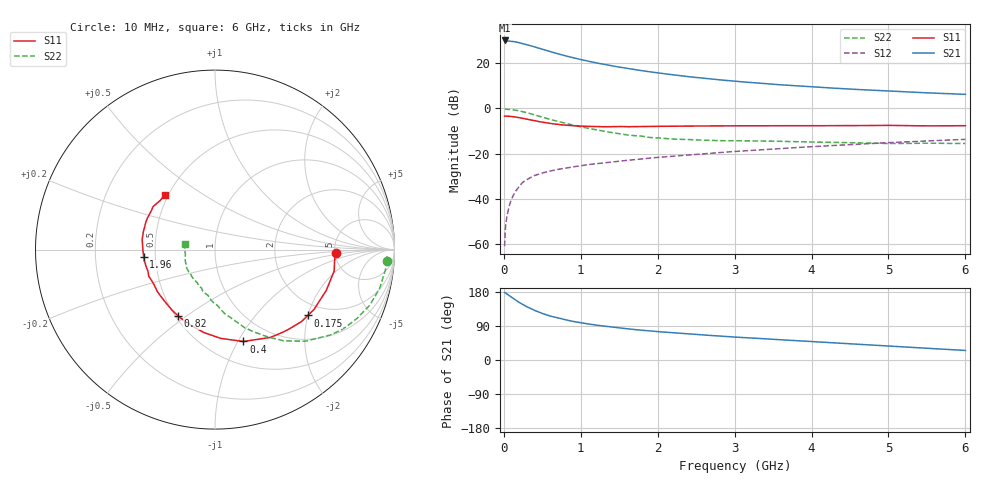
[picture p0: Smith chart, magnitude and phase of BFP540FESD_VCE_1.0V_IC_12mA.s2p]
! Infineon Technologies  Discrete & RF Semiconductors
! BFP540FESD
! VCE =  1.0 V,  IC =  12 mA
! Common Emitter S-Parameters:  Nov 2015
# GHz  S  MA  R  50
!  f  S11  S21  S12  S22
! GHz  MAG  ANG  MAG  ANG  MAG  ANG  MAG  ANG
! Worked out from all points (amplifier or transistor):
!   210 points, 10 MHz to 6 GHz, reference 50 ohm
!   highest |S21| = 30.0 dB at 10 MHz (marker M1)
!   |S21| within 3 dB of that: start of sweep to 414.8 MHz
!   unconditionally stable (mu >= 1): 2.018 GHz to end of sweep
!   at 185 MHz: K = 0.20, MSG = 32.1 dB, |S12| = -35.1 dB
!   at 1.52 GHz: K = 0.89, MSG = 20.7 dB, |S12| = -23.3 dB
!   at 6 GHz: K = 1.20, MAG = 7.3 dB, |S12| = -13.7 dB
!   S11 on the Smith chart (normalised r, x): 10 MHz: 5.09, -0.31; 175 MHz: 1.62, -1.99; 400 MHz: 0.73, -1.06; 820 MHz: 0.52, -0.46; 1.96 GHz: 0.43, -0.04; 6 GHz: 0.48, +0.35
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0.01  0.6725 -1.4  31.61 178.2  0.0009 104.5  0.9609 -3.9
0.02  0.6693 -5.6  30.88 177.2  0.0022 82.3  0.9591 -2.4
0.05  0.6747 -10.2  30.85 172.9  0.005 88.1  0.9567 -6.6
0.1  0.6604 -20.2  30.29 165.6  0.0098 84.6  0.9422 -13.4
0.15  0.6445 -31.2  29.57 158.7  0.0144 77.0  0.9161 -19.8
0.175  0.6338 -35.4  28.87 155.4  0.0166 74.4  0.8962 -22.8
0.22  0.6148 -43.3  27.7 149.6  0.0208 71.5  0.863 -28.1
0.3  0.5788 -57.7  25.61 140.3  0.0266 66.5  0.7998 -36.5
0.4  0.5358 -72.8  22.78 130.7  0.0328 61.6  0.7169 -45.4
0.5  0.4958 -86.3  20.25 122.7  0.0372 58.8  0.6367 -53.0
0.6  0.4663 -97.6  17.93 116.1  0.0411 56.4  0.5693 -58.7
0.7  0.443 -107.4  16.1 110.8  0.0446 54.5  0.5157 -63.9
0.82  0.4227 -119.1  14.19 105.1  0.0485 53.9  0.4568 -69.9
1.02  0.4028 -133.3  11.76 97.6  0.0545 52.7  0.3841 -77.6
1.4  0.3927 -154.0  8.744 86.9  0.0655 51.8  0.2928 -92.2
1.96  0.3996 -173.8  6.203 75.6  0.0812 50.9  0.2242 -111.6
2.02  0.4 -175.8  6.01 74.5  0.0828 50.7  0.2212 -113.6
2.6  0.4098 172.5  4.609 65.9  0.0993 49.6  0.198 -131.3
3.1  0.4115 164.7  3.854 59.4  0.1141 47.6  0.1915 -140.0
4.1  0.4151 154.1  2.917 47.5  0.1452 43.1  0.1791 -156.4
5.1  0.4176 143.9  2.372 35.7  0.1775 36.3  0.1672 -172.9
6  0.4134 132.2  2.037 25.2  0.2063 29.5  0.1674 169.5
